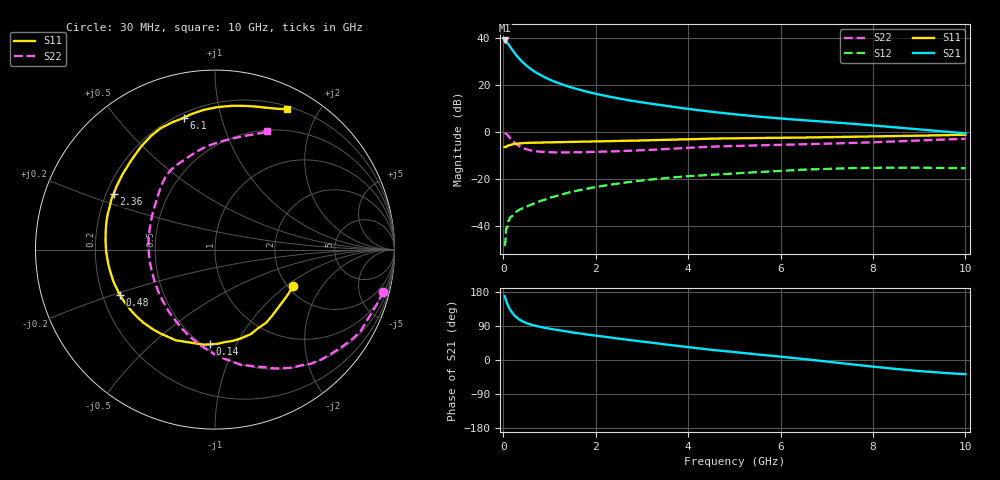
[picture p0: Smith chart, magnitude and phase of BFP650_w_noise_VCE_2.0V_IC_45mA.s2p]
! Infineon Technologies  Discrete & RF Semiconductors
! BFP650
! VCE =  2.0 V,  IC =  45 mA
! Common Emitter S-Parameters:  Jan 2016
# GHz  S  MA  R  50
!  f  S11  S21  S12  S22
! GHz  MAG  ANG  MAG  ANG  MAG  ANG  MAG  ANG
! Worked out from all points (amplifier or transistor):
!   229 points, 30 MHz to 10 GHz, reference 50 ohm
!   highest |S21| = 39.1 dB at 30 MHz (marker M1)
!   |S21| within 3 dB of that: start of sweep to 160.6 MHz
!   unconditionally stable (mu >= 1): 1.897 GHz to end of sweep
!   at 280 MHz: K = 0.43, MSG = 33.5 dB, |S12| = -34.0 dB
!   at 1.78 GHz: K = 0.99, MSG = 20.8 dB, |S12| = -24.3 dB
!   at 10 GHz: K = 1.03, MAG = 6.3 dB, |S12| = -15.4 dB
!   lowest NFmin = 0.91 dB at 450 MHz
!   S11 on the Smith chart (normalised r, x): 30 MHz: 2.14, -1.13; 140 MHz: 0.54, -0.79; 480 MHz: 0.27, -0.21; 2.36 GHz: 0.23, +0.24; 6.1 GHz: 0.22, +0.77; 10 GHz: 0.23, +1.61
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0.03  0.4813 -25.0  90.09 168.3  0.0037 67.1  0.967 -14.0
0.05  0.4772 -41.1  87.29 160.5  0.0049 67.9  0.9367 -23.7
0.06  0.4873 -49.4  86.44 157.5  0.0085 53.6  0.93 -29.1
0.08  0.4999 -61.6  82.2 150.7  0.0092 72.1  0.8926 -37.0
0.11  0.518 -79.3  75.34 142.1  0.0127 70.2  0.8312 -49.9
0.14  0.5277 -93.0  68.29 134.8  0.0146 64.2  0.7641 -59.7
0.2  0.5505 -113.4  56.09 123.3  0.0163 54.1  0.6583 -77.3
0.26  0.5625 -127.4  46.7 115.3  0.0191 52.1  0.5803 -90.8
0.3  0.5703 -134.7  41.59 111.0  0.0207 50.8  0.5392 -98.8
0.36  0.5769 -142.9  35.59 106.0  0.0224 49.5  0.4951 -108.3
0.48  0.5863 -154.7  27.39 98.7  0.0252 49.6  0.438 -123.9
0.7  0.5965 -167.9  18.91 90.1  0.031 51.2  0.3918 -144.1
0.9  0.6024 -175.9  14.7 84.9  0.0362 52.5  0.3751 -156.9
1.22  0.6127 174.7  10.86 78.0  0.0455 52.6  0.3691 -171.3
1.7  0.627 163.7  7.765 69.4  0.0591 50.2  0.3733 173.6
2.36  0.6447 151.2  5.544 58.6  0.077 45.0  0.3877 157.8
3.4  0.6779 134.5  3.77 42.8  0.1023 34.8  0.4292 138.9
5.1  0.7421 112.9  2.349 19.7  0.1333 18.3  0.5098 117.7
6.1  0.7552 103.4  1.919 7.5  0.1513 9.3  0.5377 105.7
6.8  0.7741 96.8  1.714 -1.3  0.1624 1.8  0.5609 98.9
8.4  0.8201 77.3  1.285 -22.5  0.1744 -15.7  0.6281 80.7
10  0.8791 62.9  0.943 -37.4  0.17 -28.1  0.7203 66.1
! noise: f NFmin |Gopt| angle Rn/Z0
0.45  0.91  0.13  169  1.13
0.9  0.93  0.39  -168  0.06
1.9  1.08  0.43  -154  0.06
2.4  1.16  0.42  -145  0.07
3.5  1.37  0.44  -121  0.13
